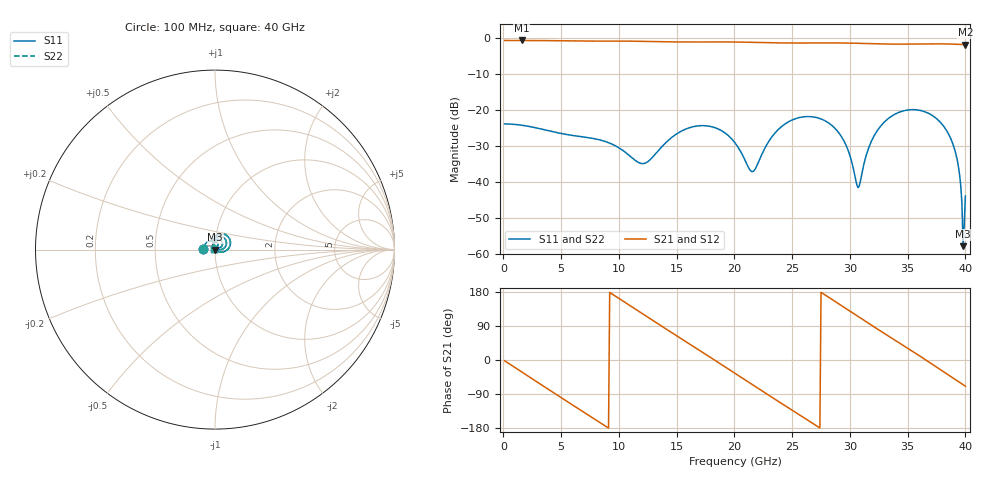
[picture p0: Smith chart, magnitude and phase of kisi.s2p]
! thru_s8_L3: 2×thru, L3, 8 mm
! stackup: 8-layer 1.6 mm FR-4 (generic)
! ports: 1, 2
! kisi-fdtd, conformal, dfine 0.035 mm, 413725 cells
# Hz S RI R 50
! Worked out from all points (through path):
!   400 points, 100 MHz to 40 GHz, reference 50 ohm
!   highest |S21| = -0.59 dB at 1.6 GHz (marker M1); lowest = -1.8 dB at 40 GHz (marker M2)
!   group delay of S21, straight-line fit = 54.7 ps
!   lowest |S11| = -57.7 dB at 39.8 GHz (marker M3), VSWR 1.00, Z = 50.1 - j0.104 ohm
!   |S11| at or under -10 dB: start of sweep to end of sweep
!   |S22| runs from -57.7 to -19.8 dB; largest |S21 - S12| = 0
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1e8  -0.0647 0.00234  0.9327 -0.0323  0.9327 -0.0323  -0.0647 0.00234
1.6e9  -0.0524 0.0332  0.7939 -0.4916  0.7939 -0.4916  -0.0524 0.0332
4.2e9  -0.0141 0.0488  0.1034 -0.9203  0.1034 -0.9203  -0.0141 0.0488
6.8e9  0.00701 0.0423  -0.6415 -0.6523  -0.6415 -0.6523  0.00701 0.0423
9.9e9  0.0175 0.0253  -0.8824 0.2463  -0.8824 0.2463  0.0175 0.0253
1.2e10  0.0047 0.0176  -0.4893 0.7645  -0.4893 0.7645  0.0047 0.0176
1.34e10  -0.00584 0.0268  -0.0796 0.8945  -0.0796 0.8945  -0.00584 0.0268
1.71e10  0.0269 0.055  0.8188 0.3493  0.8188 0.3493  0.0269 0.055
2.01e10  0.0317 0.0137  0.7144 -0.5277  0.7144 -0.5277  0.0317 0.0137
2.16e10  0.00559 0.013  0.3542 -0.8039  0.3542 -0.8039  0.00559 0.013
2.32e10  -0.00867 0.0409  -0.1132 -0.8593  -0.1132 -0.8593  -0.00867 0.0409
2.67e10  0.0554 0.0597  -0.8358 -0.2159  -0.8358 -0.2159  0.0554 0.0597
2.92e10  0.0446 0.00391  -0.703 0.4995  -0.703 0.4995  0.0446 0.00391
3.07e10  0.00526 0.00659  -0.3553 0.7739  -0.3553 0.7739  0.00526 0.00659
3.18e10  -0.0118 0.0333  -0.0445 0.8401  -0.0445 0.8401  -0.0118 0.0333
3.34e10  0.0063 0.0782  0.3884 0.7344  0.3884 0.7344  0.0063 0.0782
3.61e10  0.083 0.0549  0.825 0.1389  0.825 0.1389  0.083 0.0549
3.84e10  0.0502 -0.0112  0.6674 -0.502  0.6674 -0.502  0.0502 -0.0112
3.95e10  0.0103 -0.00743  0.4227 -0.7071  0.4227 -0.7071  0.0103 -0.00743
3.97e10  0.00381 -0.0034  0.3714 -0.7324  0.3714 -0.7324  0.00381 -0.0034
3.98e10  0.000779 -0.00104  0.3452 -0.7436  0.3452 -0.7436  0.000779 -0.00104
4e10  -0.00478 0.00434  0.2922 -0.7631  0.2922 -0.7631  -0.00478 0.00434
